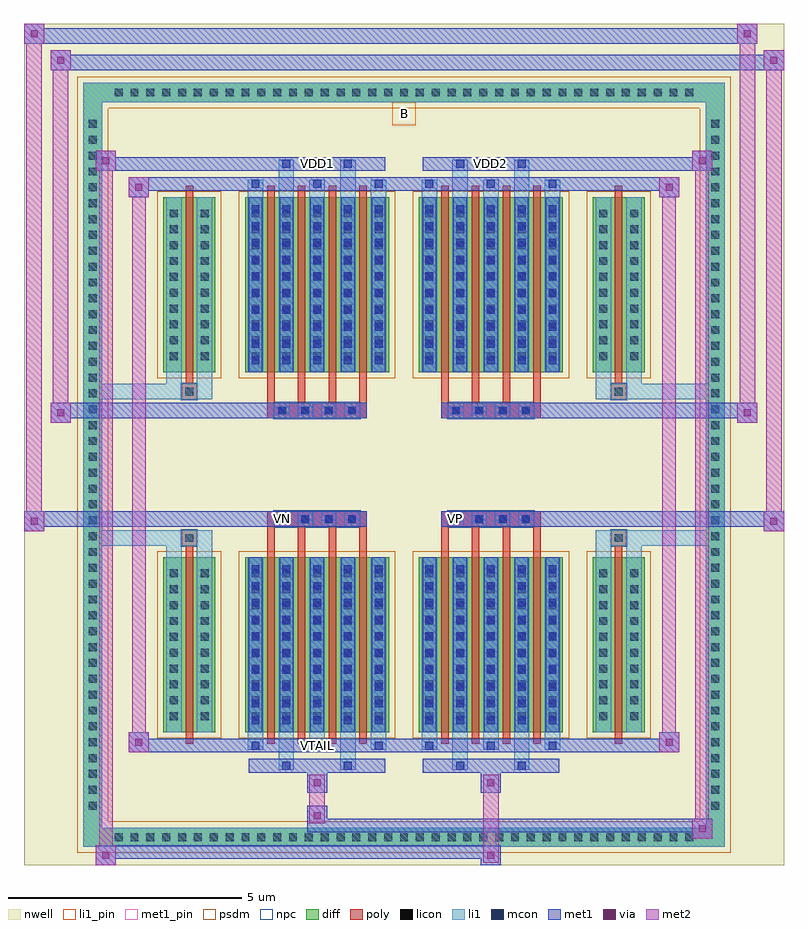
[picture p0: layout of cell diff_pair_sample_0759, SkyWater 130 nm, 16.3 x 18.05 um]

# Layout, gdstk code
import gdstk
lib = gdstk.Library(unit=1e-6, precision=5e-09)
def R(c, l, rs):  # rectangles x0, y0, x1, y1
    for r in rs: c.add(gdstk.rectangle(r[:2], r[2:], *l))
def A(c, l, x, y, w, h, nx, ny, dx, dy):  # array of equal rectangles
    R(c, l, [(x+i*dx, y+j*dy, x+i*dx+w, y+j*dy+h) for i in range(nx) for j in range(ny)])
def P(c, l, *ps):  # polygons
    for p in ps: c.add(gdstk.Polygon(p, *l))
nwell = (64, 20)
diff = (65, 20)
poly = (66, 20)
licon = (66, 44)
li1_pin = (67, 16)
li1 = (67, 20)
mcon = (67, 44)
met1_pin = (68, 16)
met1 = (68, 20)
via = (68, 44)
met2 = (69, 20)
psdm = (94, 20)
npc = (95, 20)

diff_pair_sample_0759 = lib.new_cell('diff_pair_sample_0759')
R(diff_pair_sample_0759, nwell, [(-8.15,-8.59,8.15,9.46), (-5.47,-6.78,-0.01,-0.8), (0.01,-6.78,5.47,-0.8), (-5.47,0.8,-0.01,6.78), (0.01,0.8,5.47,6.78)])
A(diff_pair_sample_0759, diff, -6.325, -8.19, 0.41, 0.41, 37, 2, 0.34, 15.97)
A(diff_pair_sample_0759, diff, -6.88, -7.515, 0.41, 0.41, 1, 44, 0, 0.34)
A(diff_pair_sample_0759, diff, 6.47, -7.515, 0.41, 0.41, 1, 44, 0, 0.34)
R(diff_pair_sample_0759, diff, [(-6.325,-8.19,6.325,-7.78), (-6.88,-7.515,-6.47,7.515), (6.47,-7.515,6.88,7.515), (-5.16,-5.735,-4.05,-1.985), (-3.41,-5.735,-0.32,-1.985), (0.32,-5.735,3.41,-1.985), (4.05,-5.735,5.16,-1.985), (-5.16,1.985,-4.05,5.735), (-3.41,1.985,-0.32,5.735), (0.32,1.985,3.41,5.735), (4.05,1.985,5.16,5.735), (-6.325,7.78,6.325,8.19)])
P(diff_pair_sample_0759, diff, [(6.88,8.19),(-6.88,8.19),(-6.88,-7.78),(-6.47,-7.78),(-6.47,7.78),(6.47,7.78),(6.47,-7.78),(-6.47,-7.78),(-6.88,-7.78),(-6.88,-8.19),(6.88,-8.19)])
A(diff_pair_sample_0759, poly, -2.935, -5.985, 0.16, 4.25, 4, 2, 0.66, 7.72)
A(diff_pair_sample_0759, poly, 0.795, -5.985, 0.16, 4.25, 4, 2, 0.66, 7.72)
A(diff_pair_sample_0759, poly, -2.935, -1.735, 0.16, 0.405, 4, 2, 0.66, 3.065)
A(diff_pair_sample_0759, poly, 0.795, -1.735, 0.16, 0.405, 4, 2, 0.66, 3.065)
A(diff_pair_sample_0759, poly, -2.78, -1.33, 0.33, 0.33, 4, 2, 0.5, 2.33)
A(diff_pair_sample_0759, poly, 0.95, -1.33, 0.33, 0.33, 4, 2, 0.5, 2.33)
R(diff_pair_sample_0759, poly, [(-4.685,-5.985,-4.525,-1.735), (4.525,-5.985,4.685,-1.735), (-4.77,-1.735,-4.44,-1.405), (-4.77,-1.735,-4.44,-1.405), (4.44,-1.735,4.77,-1.405), (4.44,-1.735,4.77,-1.405), (-2.935,-1.33,-0.795,-1), (0.795,-1.33,2.935,-1), (-2.935,1,-0.795,1.33), (0.795,1,2.935,1.33), (-4.77,1.405,-4.44,1.735), (-4.77,1.405,-4.44,1.735), (4.44,1.405,4.77,1.735), (4.44,1.405,4.77,1.735), (-4.685,1.735,-4.525,5.985), (4.525,1.735,4.685,5.985)])
A(diff_pair_sample_0759, licon, -6.205, -8.07, 0.17, 0.17, 37, 2, 0.34, 15.97)
A(diff_pair_sample_0759, licon, -6.76, -7.395, 0.17, 0.17, 1, 44, 0, 0.34)
A(diff_pair_sample_0759, licon, 6.59, -7.395, 0.17, 0.17, 1, 44, 0, 0.34)
A(diff_pair_sample_0759, licon, -5.02, -5.475, 0.17, 0.17, 1, 10, 0, 0.34)
A(diff_pair_sample_0759, licon, -4.36, -5.475, 0.17, 0.17, 1, 10, 0, 0.34)
A(diff_pair_sample_0759, licon, -3.27, -5.475, 0.17, 0.17, 5, 10, 0.66, 0.34)
A(diff_pair_sample_0759, licon, 0.46, -5.475, 0.17, 0.17, 5, 10, 0.66, 0.34)
A(diff_pair_sample_0759, licon, 4.19, -5.475, 0.17, 0.17, 1, 10, 0, 0.34)
A(diff_pair_sample_0759, licon, 4.85, -5.475, 0.17, 0.17, 1, 10, 0, 0.34)
A(diff_pair_sample_0759, licon, -2.7, -1.25, 0.17, 0.17, 4, 2, 0.5, 2.33)
A(diff_pair_sample_0759, licon, 1.03, -1.25, 0.17, 0.17, 4, 2, 0.5, 2.33)
A(diff_pair_sample_0759, licon, -5.02, 2.245, 0.17, 0.17, 1, 10, 0, 0.34)
A(diff_pair_sample_0759, licon, -4.36, 2.245, 0.17, 0.17, 1, 10, 0, 0.34)
A(diff_pair_sample_0759, licon, -3.27, 2.245, 0.17, 0.17, 5, 10, 0.66, 0.34)
A(diff_pair_sample_0759, licon, 0.46, 2.245, 0.17, 0.17, 5, 10, 0.66, 0.34)
A(diff_pair_sample_0759, licon, 4.19, 2.245, 0.17, 0.17, 1, 10, 0, 0.34)
A(diff_pair_sample_0759, licon, 4.85, 2.245, 0.17, 0.17, 1, 10, 0, 0.34)
R(diff_pair_sample_0759, licon, [(-4.69,-1.655,-4.52,-1.485), (4.52,-1.655,4.69,-1.485), (-4.69,1.485,-4.52,1.655), (4.52,1.485,4.69,1.655)])
R(diff_pair_sample_0759, li1_pin, [(-0.25,7.28,0.25,7.78)])
A(diff_pair_sample_0759, li1, -6.285, -8.15, 0.33, 0.33, 37, 2, 0.34, 15.97)
A(diff_pair_sample_0759, li1, -6.84, -7.475, 0.33, 0.33, 1, 44, 0, 0.34)
A(diff_pair_sample_0759, li1, 6.51, -7.475, 0.33, 0.33, 1, 44, 0, 0.34)
A(diff_pair_sample_0759, li1, -3.35, -6.11, 0.33, 0.375, 3, 2, 1.32, 11.845)
A(diff_pair_sample_0759, li1, -3.27, -6.11, 0.17, 0.17, 3, 2, 1.32, 12.05)
A(diff_pair_sample_0759, li1, 0.38, -6.11, 0.33, 0.375, 3, 2, 1.32, 11.845)
A(diff_pair_sample_0759, li1, 0.46, -6.11, 0.17, 0.17, 3, 2, 1.32, 12.05)
A(diff_pair_sample_0759, li1, -3.35, -5.735, 0.33, 3.75, 5, 2, 0.66, 7.72)
A(diff_pair_sample_0759, li1, 0.38, -5.735, 0.33, 3.75, 5, 2, 0.66, 7.72)
A(diff_pair_sample_0759, li1, -3.27, -5.565, 0.17, 0.17, 5, 10, 0.66, 0.36)
A(diff_pair_sample_0759, li1, -3.27, -5.565, 0.17, 3.41, 5, 2, 0.66, 7.72)
A(diff_pair_sample_0759, li1, 0.46, -5.565, 0.17, 0.17, 5, 10, 0.66, 0.36)
A(diff_pair_sample_0759, li1, 0.46, -5.565, 0.17, 3.41, 5, 2, 0.66, 7.72)
A(diff_pair_sample_0759, li1, -5.1, -5.555, 0.33, 0.33, 1, 10, 0, 0.34)
A(diff_pair_sample_0759, li1, -4.44, -5.555, 0.33, 0.33, 1, 10, 0, 0.34)
A(diff_pair_sample_0759, li1, -3.35, -5.555, 0.33, 0.33, 5, 10, 0.66, 0.34)
A(diff_pair_sample_0759, li1, 0.38, -5.555, 0.33, 0.33, 5, 10, 0.66, 0.34)
A(diff_pair_sample_0759, li1, 4.11, -5.555, 0.33, 0.33, 1, 10, 0, 0.34)
A(diff_pair_sample_0759, li1, 4.77, -5.555, 0.33, 0.33, 1, 10, 0, 0.34)
A(diff_pair_sample_0759, li1, -5.1, -1.735, 0.33, 0.33, 3, 2, 0.33, 3.14)
A(diff_pair_sample_0759, li1, 4.11, -1.735, 0.33, 0.33, 3, 2, 0.33, 3.14)
A(diff_pair_sample_0759, li1, -2.78, -1.33, 0.33, 0.33, 4, 2, 0.5, 2.33)
A(diff_pair_sample_0759, li1, 0.95, -1.33, 0.33, 0.33, 4, 2, 0.5, 2.33)
A(diff_pair_sample_0759, li1, -3.27, 2.155, 0.17, 0.17, 5, 10, 0.66, 0.36)
A(diff_pair_sample_0759, li1, 0.46, 2.155, 0.17, 0.17, 5, 10, 0.66, 0.36)
A(diff_pair_sample_0759, li1, -5.1, 2.165, 0.33, 0.33, 1, 10, 0, 0.34)
A(diff_pair_sample_0759, li1, -4.44, 2.165, 0.33, 0.33, 1, 10, 0, 0.34)
A(diff_pair_sample_0759, li1, -3.35, 2.165, 0.33, 0.33, 5, 10, 0.66, 0.34)
A(diff_pair_sample_0759, li1, 0.38, 2.165, 0.33, 0.33, 5, 10, 0.66, 0.34)
A(diff_pair_sample_0759, li1, 4.11, 2.165, 0.33, 0.33, 1, 10, 0, 0.34)
A(diff_pair_sample_0759, li1, 4.77, 2.165, 0.33, 0.33, 1, 10, 0, 0.34)
R(diff_pair_sample_0759, li1, [(-6.88,-8.19,-6.47,-7.78), (-6.88,-8.19,-6.47,-7.78), (-6.47,-8.19,6.47,-7.78), (6.47,-8.19,6.88,-7.78), (6.47,-8.19,6.88,-7.78), (-6.88,-7.78,-6.47,7.78), (6.47,-7.78,6.88,7.78), (-2.69,-6.54,-2.36,-5.735), (-2.61,-6.54,-2.44,-6.37), (-1.37,-6.54,-1.04,-5.735), (-1.29,-6.54,-1.12,-6.37), (1.04,-6.54,1.37,-5.735), (1.12,-6.54,1.29,-6.37), (2.36,-6.54,2.69,-5.735), (2.44,-6.54,2.61,-6.37), (-5.1,-5.735,-4.77,-1.985), (-4.44,-5.735,-4.11,-1.985), (4.11,-5.735,4.44,-1.985), (4.77,-5.735,5.1,-1.985), (-5.1,-1.985,-4.77,-1.405), (-4.44,-1.985,-4.11,-1.405), (4.11,-1.985,4.44,-1.405), (4.77,-1.985,5.1,-1.405), (-6.88,-1.735,-4.77,-1.405), (4.44,-1.735,6.88,-1.405), (-6.88,1.405,-4.77,1.735), (-5.1,1.405,-4.77,1.985), (-4.44,1.405,-4.11,1.985), (4.11,1.405,4.44,1.985), (4.44,1.405,6.88,1.735), (4.77,1.405,5.1,1.985), (-5.1,1.985,-4.77,5.735), (-4.44,1.985,-4.11,5.735), (4.11,1.985,4.44,5.735), (4.77,1.985,5.1,5.735), (-2.69,5.735,-2.36,6.54), (-1.37,5.735,-1.04,6.54), (1.04,5.735,1.37,6.54), (2.36,5.735,2.69,6.54), (-2.61,6.37,-2.44,6.54), (-1.29,6.37,-1.12,6.54), (1.12,6.37,1.29,6.54), (2.44,6.37,2.61,6.54), (-6.88,7.78,-6.47,8.19), (-6.88,7.78,-6.47,8.19), (-6.47,7.78,6.47,8.19), (6.47,7.78,6.88,8.19), (6.47,7.78,6.88,8.19)])
A(diff_pair_sample_0759, mcon, -3.27, -6.11, 0.17, 0.17, 3, 2, 1.32, 12.05)
A(diff_pair_sample_0759, mcon, 0.46, -6.11, 0.17, 0.17, 3, 2, 1.32, 12.05)
A(diff_pair_sample_0759, mcon, -3.27, -5.565, 0.17, 0.17, 5, 10, 0.66, 0.36)
A(diff_pair_sample_0759, mcon, 0.46, -5.565, 0.17, 0.17, 5, 10, 0.66, 0.36)
A(diff_pair_sample_0759, mcon, -2.7, -1.25, 0.17, 0.17, 4, 2, 0.5, 2.33)
A(diff_pair_sample_0759, mcon, 1.03, -1.25, 0.17, 0.17, 4, 2, 0.5, 2.33)
A(diff_pair_sample_0759, mcon, -3.27, 2.155, 0.17, 0.17, 5, 10, 0.66, 0.36)
A(diff_pair_sample_0759, mcon, 0.46, 2.155, 0.17, 0.17, 5, 10, 0.66, 0.36)
R(diff_pair_sample_0759, mcon, [(-2.61,-6.54,-2.44,-6.37), (-1.29,-6.54,-1.12,-6.37), (1.12,-6.54,1.29,-6.37), (2.44,-6.54,2.61,-6.37), (-2.61,6.37,-2.44,6.54), (-1.29,6.37,-1.12,6.54), (1.12,6.37,1.29,6.54), (2.44,6.37,2.61,6.54)])
R(diff_pair_sample_0759, met1_pin, [(-2,-6.15,-1.73,-5.88), (-2.75,-1.29,-2.48,-1.02), (0.98,-1.29,1.25,-1.02), (-2,6.33,-1.73,6.6), (1.73,6.33,2,6.6)])
A(diff_pair_sample_0759, met1, -3.33, -6.17, 0.29, 0.29, 3, 2, 1.32, 12.05)
A(diff_pair_sample_0759, met1, 0.4, -6.17, 0.29, 0.29, 3, 2, 1.32, 12.05)
A(diff_pair_sample_0759, met1, -3.33, -5.735, 0.29, 3.75, 5, 2, 0.66, 7.72)
A(diff_pair_sample_0759, met1, 0.4, -5.735, 0.29, 3.75, 5, 2, 0.66, 7.72)
A(diff_pair_sample_0759, met1, -3.33, -5.625, 0.29, 0.29, 5, 10, 0.66, 0.36)
A(diff_pair_sample_0759, met1, 0.4, -5.625, 0.29, 0.29, 5, 10, 0.66, 0.36)
A(diff_pair_sample_0759, met1, -2.76, -1.31, 0.29, 0.29, 4, 2, 0.5, 2.33)
A(diff_pair_sample_0759, met1, 0.97, -1.31, 0.29, 0.29, 4, 2, 0.5, 2.33)
A(diff_pair_sample_0759, met1, -3.33, 2.095, 0.29, 0.29, 5, 10, 0.66, 0.36)
A(diff_pair_sample_0759, met1, 0.4, 2.095, 0.29, 0.29, 5, 10, 0.66, 0.36)
R(diff_pair_sample_0759, met1, [(-6.61,-8.59,-6.18,-8.16), (1.65,-8.59,2.08,-8.16), (-6.61,-8.45,2.08,-8.16), (6.18,-8.02,6.61,-7.59), (-2.08,-7.88,6.61,-7.59), (-2.08,-7.74,-1.65,-7.31), (-2.08,-7.03,-1.65,-6.6), (1.65,-7.03,2.08,-6.6), (-3.33,-6.6,-0.4,-6.31), (-2.67,-6.6,-2.38,-6.31), (-1.35,-6.6,-1.06,-6.31), (0.4,-6.6,3.33,-6.31), (1.06,-6.6,1.35,-6.31), (2.38,-6.6,2.67,-6.31), (-5.9,-6.17,-5.47,-5.74), (-5.9,-6.17,-3.33,-5.88), (-3.33,-6.17,-0.4,-5.88), (-0.4,-6.17,0.4,-5.88), (0.4,-6.17,3.33,-5.88), (3.33,-6.17,5.9,-5.88), (5.47,-6.17,5.9,-5.74), (-8.15,-1.43,-7.72,-1), (7.72,-1.43,8.15,-1), (-8.15,-1.33,-0.795,-1), (-2.935,-1.33,-0.795,-1), (0.795,-1.33,2.935,-1), (0.795,-1.33,8.15,-1), (-7.58,0.9,-7.15,1.33), (7.15,0.9,7.58,1.33), (-7.58,1,-2.935,1.33), (-2.935,1,-0.795,1.33), (0.795,1,2.935,1.33), (2.935,1,7.58,1.33), (-5.9,5.74,-5.47,6.17), (5.47,5.74,5.9,6.17), (-5.9,5.88,-3.33,6.17), (-3.33,5.88,-0.4,6.17), (-0.4,5.88,0.4,6.17), (0.4,5.88,3.33,6.17), (3.33,5.88,5.9,6.17), (-6.61,6.31,-6.18,6.74), (-6.61,6.31,-3.33,6.6), (-3.33,6.31,-0.4,6.6), (-2.67,6.31,-2.38,6.6), (-1.35,6.31,-1.06,6.6), (0.4,6.31,3.33,6.6), (1.06,6.31,1.35,6.6), (2.38,6.31,2.67,6.6), (3.33,6.31,6.61,6.6), (6.18,6.31,6.61,6.74), (-7.58,8.46,-7.15,8.89), (-7.58,8.46,-5.47,8.79), (-5.47,8.46,5.47,8.79), (5.47,8.46,8.15,8.79), (7.72,8.46,8.15,8.89), (-8.15,9.03,-7.72,9.46), (-8.15,9.03,-5.47,9.36), (-5.47,9.03,5.47,9.36), (5.47,9.03,7.58,9.36), (7.15,9.03,7.58,9.46)])
R(diff_pair_sample_0759, via, [(-6.47,-8.45,-6.32,-8.3), (1.79,-8.45,1.94,-8.3), (6.32,-7.88,6.47,-7.73), (-1.94,-7.6,-1.79,-7.45), (-1.94,-6.89,-1.79,-6.74), (1.79,-6.89,1.94,-6.74), (-5.76,-6.03,-5.61,-5.88), (5.61,-6.03,5.76,-5.88), (-8.01,-1.29,-7.86,-1.14), (7.86,-1.29,8.01,-1.14), (-7.44,1.04,-7.29,1.19), (7.29,1.04,7.44,1.19), (-5.76,5.88,-5.61,6.03), (5.61,5.88,5.76,6.03), (-6.47,6.45,-6.32,6.6), (6.32,6.45,6.47,6.6), (-7.44,8.6,-7.29,8.75), (7.86,8.6,8.01,8.75), (-8.01,9.17,-7.86,9.32), (7.29,9.17,7.44,9.32)])
R(diff_pair_sample_0759, met2, [(-6.61,-8.59,-6.18,-8.16), (-6.54,-8.59,-6.25,6.74), (-6.25,-8.59,-6.18,-8.16), (-6.56,-8.54,-6.23,-8.21), (1.7,-8.54,2.03,-8.21), (1.7,-8.21,2.03,-6.98), (6.18,-8.02,6.61,-7.59), (6.25,-8.02,6.54,6.74), (6.54,-8.02,6.61,-7.59), (6.23,-7.97,6.56,-7.64), (-2.03,-7.69,-1.7,-7.36), (-2.03,-7.36,-1.7,-6.98), (-2.03,-6.98,-1.7,-6.65), (1.7,-6.98,2.03,-6.65), (-5.9,-6.17,-5.47,-5.74), (-5.83,-6.17,-5.54,6.17), (-5.54,-6.17,-5.47,-5.74), (5.47,-6.17,5.9,-5.74), (5.54,-6.17,5.83,6.17), (5.83,-6.17,5.9,-5.74), (-5.85,-6.12,-5.52,-5.79), (5.52,-6.12,5.85,-5.79), (-8.15,-1.43,-7.72,-1), (-8.1,-1.43,-7.77,9.46), (-7.77,-1.43,-7.72,-1), (7.72,-1.43,8.15,-1), (7.77,-1.43,8.1,8.89), (8.1,-1.43,8.15,-1), (-8.1,-1.38,-7.77,-1.05), (7.77,-1.38,8.1,-1.05), (-7.58,0.9,-7.15,1.33), (-7.53,0.9,-7.2,8.89), (-7.2,0.9,-7.15,1.33), (7.15,0.9,7.58,1.33), (7.2,0.9,7.53,9.46), (7.53,0.9,7.58,1.33), (-7.53,0.95,-7.2,1.28), (7.2,0.95,7.53,1.28), (-5.9,5.74,-5.47,6.17), (-5.54,5.74,-5.47,6.17), (5.47,5.74,5.9,6.17), (5.83,5.74,5.9,6.17), (-5.85,5.79,-5.52,6.12), (5.52,5.79,5.85,6.12), (-6.61,6.31,-6.18,6.74), (-6.25,6.31,-6.18,6.74), (6.18,6.31,6.61,6.74), (6.54,6.31,6.61,6.74), (-6.56,6.36,-6.23,6.69), (6.23,6.36,6.56,6.69), (-7.58,8.46,-7.15,8.89), (-7.2,8.46,-7.15,8.89), (7.72,8.46,8.15,8.89), (8.1,8.46,8.15,8.89), (-7.53,8.51,-7.2,8.84), (7.77,8.51,8.1,8.84), (-8.15,9.03,-7.72,9.46), (-7.77,9.03,-7.72,9.46), (7.15,9.03,7.58,9.46), (7.53,9.03,7.58,9.46), (-8.1,9.08,-7.77,9.41), (7.2,9.08,7.53,9.41)])
R(diff_pair_sample_0759, psdm, [(-5.29,-5.865,-3.92,-1.855), (-3.54,-5.865,-0.19,-1.855), (0.19,-5.865,3.54,-1.855), (3.92,-5.865,5.29,-1.855), (-5.29,1.855,-3.92,5.865), (-3.54,1.855,-0.19,5.865), (0.19,1.855,3.54,5.865), (3.92,1.855,5.29,5.865)])
P(diff_pair_sample_0759, psdm, [(7.01,8.32),(-7.01,8.32),(-7.01,-7.65),(-6.34,-7.65),(-6.34,7.65),(6.34,7.65),(6.34,-7.65),(-6.34,-7.65),(-7.01,-7.65),(-7.01,-8.32),(7.01,-8.32)])
A(diff_pair_sample_0759, npc, -2.8, -1.35, 0.37, 0.37, 4, 2, 0.5, 2.33)
A(diff_pair_sample_0759, npc, 0.93, -1.35, 0.37, 0.37, 4, 2, 0.5, 2.33)
R(diff_pair_sample_0759, npc, [(-4.79,-1.755,-4.42,-1.385), (4.42,-1.755,4.79,-1.385), (-2.8,-1.35,-1.93,-0.98), (-2.8,-1.35,-1.93,-0.98), (-2.3,-1.35,-1.43,-0.98), (-2.3,-1.35,-1.43,-0.98), (-1.8,-1.35,-0.93,-0.98), (-1.8,-1.35,-0.93,-0.98), (0.93,-1.35,1.8,-0.98), (0.93,-1.35,1.8,-0.98), (1.43,-1.35,2.3,-0.98), (1.43,-1.35,2.3,-0.98), (1.93,-1.35,2.8,-0.98), (1.93,-1.35,2.8,-0.98), (-2.8,0.98,-1.93,1.35), (-2.8,0.98,-1.93,1.35), (-2.3,0.98,-1.43,1.35), (-2.3,0.98,-1.43,1.35), (-1.8,0.98,-0.93,1.35), (-1.8,0.98,-0.93,1.35), (0.93,0.98,1.8,1.35), (0.93,0.98,1.8,1.35), (1.43,0.98,2.3,1.35), (1.43,0.98,2.3,1.35), (1.93,0.98,2.8,1.35), (1.93,0.98,2.8,1.35), (-4.79,1.385,-4.42,1.755), (4.42,1.385,4.79,1.755)])
diff_pair_sample_0759.add(gdstk.Label('VTAIL', (-1.865,-6.015), layer=68, texttype=5))
diff_pair_sample_0759.add(gdstk.Label('VN', (-2.615,-1.155), layer=68, texttype=5))
diff_pair_sample_0759.add(gdstk.Label('VP', (1.115,-1.155), layer=68, texttype=5))
diff_pair_sample_0759.add(gdstk.Label('B', (0,7.53), layer=67, texttype=5))
diff_pair_sample_0759.add(gdstk.Label('VDD2', (1.865,6.465), layer=68, texttype=5))
diff_pair_sample_0759.add(gdstk.Label('VDD1', (-1.865,6.465), layer=68, texttype=5))

lib.write_gds('diff_pair_sample_0759.gds')
